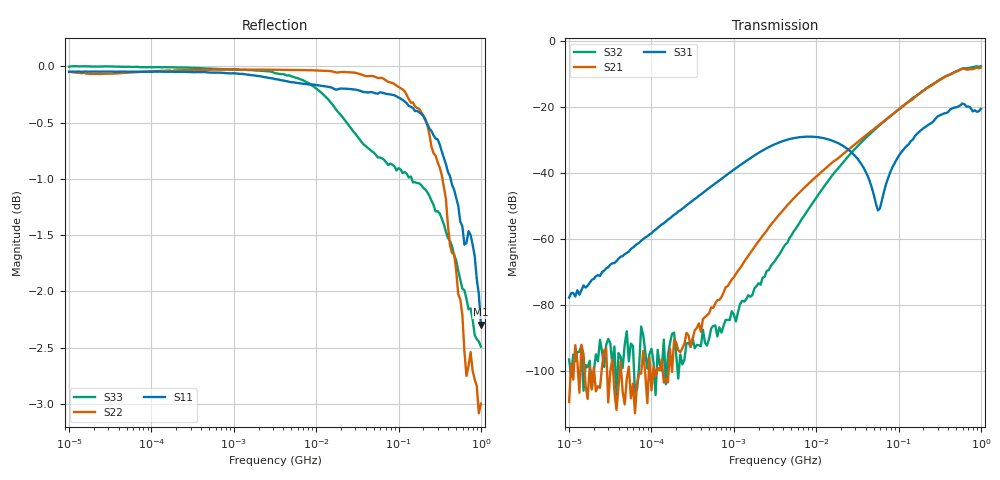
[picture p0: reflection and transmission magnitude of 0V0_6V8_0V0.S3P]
!Keysight Technologies,E5080A,MY55100144,A.11.70.03
!Date: Monday, November 13, 2017 17:26:05
!Correction: S11(Full 3 Port(1,2,3))
!S12(Full 3 Port(1,2,3))
!S13(Full 3 Port(1,2,3))
!S21(Full 3 Port(1,2,3))
!S22(Full 3 Port(1,2,3))
!S23(Full 3 Port(1,2,3))
!S31(Full 3 Port(1,2,3))
!S32(Full 3 Port(1,2,3))
!S33(Full 3 Port(1,2,3))
!S3P File: Measurements: <S11,S12,S13>,
!<S21,S22,S23>,
!<S31,S32,S33>:Log Frequency Sweep
# Hz S  RI  R 50
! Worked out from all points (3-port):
!   201 points, 10 kHz to 1 GHz, reference 50 ohm
!   strongest paths, dB at 10 kHz, 177.8 kHz, 3.162 MHz, 56.23 MHz, 1 GHz:
!     S31: -77.8, -53.2, -31.3, -51.4, -20.5
!     S21: -109.6, -100.5, -54.2, -25.7, -8.0
!     S32: -96.7, -88.8, -66.7, -26.0, -7.6
!   lowest |S11| = -2.3 dB at 1 GHz (marker M1), VSWR 7.61, Z = 380 - j0.235 ohm
!   |S11| at or under -10 dB: nowhere
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10000  0.9943 -0.0054  -1.42e-05 -1.86e-05  -3.58e-06 0.000111
       2.92e-07 -3.31e-06  0.4709 -0.8759  8.86e-06 1.01e-05
       -1.85e-05 0.000127  -1.03e-05 1.05e-05  0.9997 -0.00234
50118.72  0.9942 -0.0271  1.9e-05 6.84e-06  2.23e-05 0.000626
          -3.48e-06 6.61e-06  -0.7917 -0.6001  4.04e-07 6.94e-06
          2.7e-05 0.000608  5.89e-06 3.91e-05  0.9994 -0.00567
630957.3  0.9382 -0.3273  -8.51e-05 4.53e-05  0.00168 0.00713
          -0.000101 5.86e-05  -0.9953 -0.0506  -1.84e-05 2.82e-05
          0.00168 0.0071  -1.5e-05 2.93e-05  0.9955 -0.0606
3162278  0.1571 -0.9744  -0.00135 0.00141  0.0207 0.0178
         -0.00133 0.00141  -0.9965 0.00462  -0.00039 0.000215
         0.0208 0.0177  -0.000398 0.000237  0.9499 -0.2893
2.113489e7  -0.9388 -0.2723  -0.00133 0.0191  0.0207 -0.0153
            -0.00131 0.0192  -0.9894 0.0981  -0.0086 0.0115
            0.0207 -0.0154  -0.0086 0.0115  -0.0179 -0.9486
5.623413e7  -0.9712 0.0496  0.00877 0.0511  0.00272 -9.88e-05
            0.00872 0.0512  -0.9535 0.2588  -0.00541 0.0499
            0.00269 -9.95e-05  -0.00535 0.0499  -0.761 -0.5008
1.059254e8  -0.9338 0.2531  0.0374 0.0895  0.00769 0.0183
            0.0375 0.0896  -0.8608 0.4644  0.023 0.0945
            0.00771 0.0184  0.0229 0.0944  -0.8952 -0.0911
3.758374e8  -0.3695 0.826  0.2902 0.0334  0.0807 -0.0059
            0.2903 0.0334  0.0977 0.8678  0.29 0.0576
            0.0807 -0.00592  0.2897 0.0576  -0.487 0.6898
7.079458e8  0.4634 0.7064  0.2004 -0.3126  0.0119 -0.1015
            0.2 -0.313  0.7002 0.2266  0.2468 -0.303
            0.0119 -0.1014  0.2472 -0.3025  0.257 0.7364
1e9  0.7677 -0.000127  -0.0995 -0.3844  -0.0564 -0.0751
     -0.1001 -0.3845  0.5905 -0.3907  -0.0456 -0.415
     -0.0563 -0.0755  -0.0454 -0.4149  0.6825 0.3125
